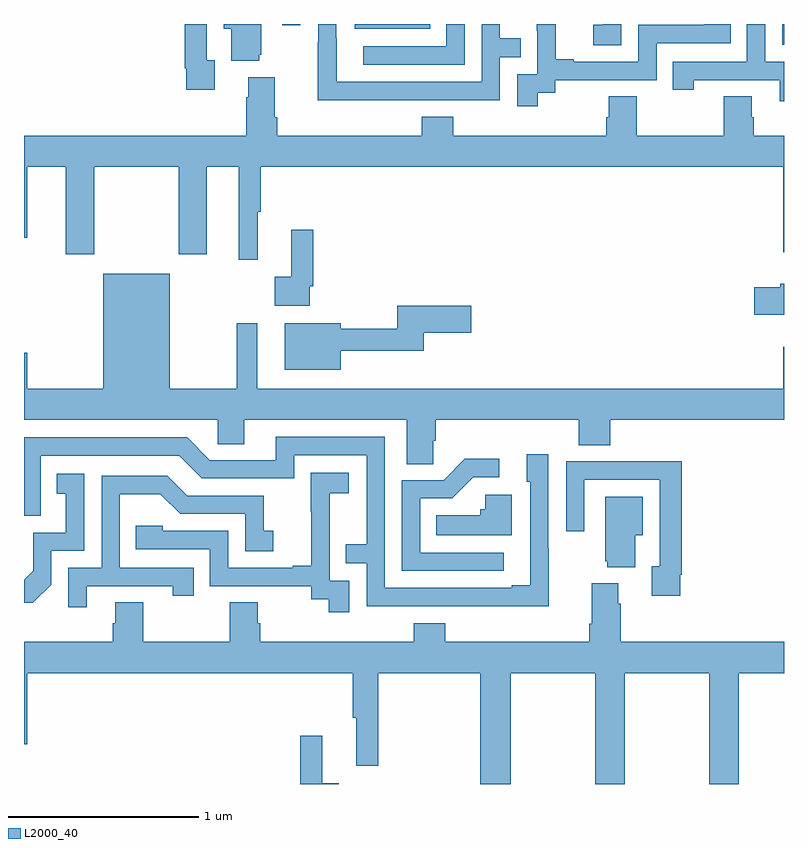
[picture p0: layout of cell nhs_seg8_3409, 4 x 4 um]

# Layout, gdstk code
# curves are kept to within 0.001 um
import gdstk
lib = gdstk.Library(unit=1e-6, precision=1e-09)
def R(c, l, rs):  # rectangles x0, y0, x1, y1
    for r in rs: c.add(gdstk.rectangle(r[:2], r[2:], *l))
def P(c, l, *ps):  # polygons
    for p in ps: c.add(gdstk.Polygon(p, *l))
L2000_40 = (2000, 40)

nhs_seg8_3409 = lib.new_cell('nhs_seg8_3409')
R(nhs_seg8_3409, L2000_40, [(324.99,1135.791,325,1135.9), (322.742,1135.874,323.138,1135.9), (322.359,1135.893,322.455,1135.9)])
P(nhs_seg8_3409, L2000_40, [(323.009,1135.5),(323.505,1135.5),(323.505,1135.725),(323.615,1135.725),(323.615,1135.826),(323.505,1135.826),(323.505,1135.9),(323.409,1135.9),(323.409,1135.596),(322.645,1135.596),(322.645,1135.826),(322.644,1135.826),(322.644,1135.9),(322.548,1135.9),(322.548,1135.805),(322.546,1135.805),(322.546,1135.499),(323.009,1135.499)],
  [(323.704,1135.537),(323.796,1135.537),(323.796,1135.605),(324.33,1135.605),(324.33,1135.8),(324.719,1135.8),(324.719,1135.9),(324.579,1135.9),(324.579,1135.896),(324.234,1135.896),(324.234,1135.701),(323.893,1135.701),(323.893,1135.714),(323.798,1135.714),(323.798,1135.9),(323.699,1135.9),(323.699,1135.865),(323.7,1135.865),(323.7,1135.635),(323.595,1135.635),(323.595,1135.467),(323.704,1135.467)],
  [(322.003,1135.71),(321.963,1135.71),(321.963,1135.9),(321.847,1135.9),(321.847,1135.666),(321.855,1135.666),(321.855,1135.554),(322.003,1135.554)],
  [(323.319,1135.9),(323.223,1135.9),(323.223,1135.782),(322.785,1135.782),(322.785,1135.686),(323.319,1135.686)],
  [(322.238,1135.737),(322.249,1135.737),(322.249,1135.9),(322.052,1135.9),(322.052,1135.874),(322.091,1135.874),(322.091,1135.706),(322.238,1135.706)],
  [(325,1135.701),(324.9,1135.701),(324.9,1135.9),(324.804,1135.9),(324.804,1135.701),(324.415,1135.701),(324.415,1135.554),(324.526,1135.554),(324.526,1135.605),(324.977,1135.605),(324.977,1135.494),(325,1135.494)],
  [(324.144,1135.9),(324.046,1135.9),(324.046,1135.897),(323.997,1135.897),(323.997,1135.788),(324.144,1135.788)],
  [(322.229,1134.912),(322.247,1134.912),(322.247,1135.148),(324.996,1135.148),(324.996,1134.699),(325,1134.699),(325,1135.312),(324.842,1135.312),(324.842,1135.41),(324.829,1135.41),(324.829,1135.52),(324.682,1135.52),(324.682,1135.312),(324.225,1135.312),(324.225,1135.52),(324.077,1135.52),(324.077,1135.41),(324.065,1135.41),(324.065,1135.312),(323.258,1135.312),(323.258,1135.411),(323.093,1135.411),(323.093,1135.312),(322.334,1135.312),(322.334,1135.408),(322.321,1135.408),(322.321,1135.621),(322.181,1135.621),(322.181,1135.514),(322.169,1135.514),(322.169,1135.312),(321,1135.312),(321,1134.774),(321.016,1134.774),(321.016,1135.148),(321.221,1135.148),(321.221,1134.687),(321.369,1134.687),(321.369,1135.148),(321.814,1135.148),(321.814,1134.687),(321.961,1134.687),(321.961,1135.148),(322.13,1135.148),(322.13,1134.66),(322.229,1134.66)],
  [(322.503,1134.52),(322.523,1134.52),(322.523,1134.817),(322.406,1134.817),(322.406,1134.569),(322.32,1134.569),(322.32,1134.416),(322.503,1134.416)],
  [(323.154,1133.707),(323.168,1133.707),(323.168,1133.816),(323.921,1133.816),(323.921,1133.683),(324.086,1133.683),(324.086,1133.816),(325,1133.816),(325,1134.202),(324.996,1134.202),(324.996,1133.98),(322.228,1133.98),(322.228,1134.325),(322.119,1134.325),(322.119,1133.98),(321.766,1133.98),(321.766,1134.586),(321.416,1134.586),(321.416,1133.98),(321.016,1133.98),(321.016,1134.169),(321,1134.169),(321,1133.816),(322.02,1133.816),(322.02,1133.689),(322.159,1133.689),(322.159,1133.816),(323.015,1133.816),(323.015,1133.584),(323.154,1133.584)],
  [(325,1134.532),(324.98,1134.532),(324.98,1134.515),(324.843,1134.515),(324.843,1134.371),(325,1134.371)],
  [(322.666,1134.179),(323.105,1134.179),(323.105,1134.274),(323.353,1134.274),(323.353,1134.416),(322.964,1134.416),(322.964,1134.296),(322.666,1134.296),(322.666,1134.325),(322.373,1134.325),(322.373,1134.08),(322.666,1134.08)],
  [(323.763,1133.141),(323.76,1133.141),(323.76,1133.635),(323.645,1133.635),(323.645,1133.49),(323.664,1133.49),(323.664,1132.945),(323.567,1132.945),(323.567,1132.932),(322.899,1132.932),(322.899,1133.727),(322.325,1133.727),(322.325,1133.604),(321.978,1133.604),(321.858,1133.724),(321,1133.724),(321,1133.313),(321.087,1133.313),(321.087,1133.628),(321.816,1133.628),(321.936,1133.508),(322.422,1133.508),(322.422,1133.631),(322.803,1133.631),(322.803,1133.162),(322.693,1133.162),(322.693,1133.061),(322.803,1133.061),(322.803,1132.836),(323.763,1132.835)],
  [(323.524,1133.118),(323.085,1133.118),(323.085,1133.403),(323.254,1133.403),(323.365,1133.514),(323.5,1133.514),(323.5,1133.612),(323.321,1133.612),(323.208,1133.499),(322.989,1133.499),(322.989,1133.022),(323.524,1133.022)],
  [(324.454,1133.002),(324.461,1133.002),(324.461,1133.6),(324.169,1133.6),(324.169,1133.598),(323.853,1133.598),(323.853,1133.229),(323.949,1133.229),(323.949,1133.502),(324.345,1133.502),(324.345,1133.046),(324.305,1133.046),(324.305,1132.89),(324.454,1132.89)],
  [(322.713,1132.971),(322.608,1132.971),(322.608,1133.201),(322.61,1133.201),(322.61,1133.429),(322.708,1133.429),(322.708,1133.539),(322.51,1133.539),(322.51,1133.333),(322.511,1133.333),(322.511,1133.05),(322.415,1133.05),(322.415,1133.037),(322.074,1133.037),(322.074,1133.232),(321.729,1133.232),(321.729,1133.259),(321.589,1133.259),(321.589,1133.136),(321.978,1133.136),(321.978,1132.941),(322.512,1132.941),(322.512,1132.873),(322.605,1132.873),(322.605,1132.803),(322.713,1132.803)],
  [(321.144,1132.95),(321.144,1133.127),(321.318,1133.127),(321.318,1133.533),(321.172,1133.533),(321.172,1133.427),(321.221,1133.427),(321.221,1133.223),(321.048,1133.223),(321.048,1133.022),(321,1132.974),(321,1132.853),(321.046,1132.853)],
  [(321.331,1132.941),(321.782,1132.941),(321.782,1132.89),(321.893,1132.89),(321.893,1133.037),(321.504,1133.037),(321.504,1133.426),(321.718,1133.426),(321.822,1133.322),(322.164,1133.322),(322.164,1133.124),(322.312,1133.124),(322.312,1133.233),(322.263,1133.233),(322.263,1133.418),(321.859,1133.418),(321.754,1133.523),(321.408,1133.523),(321.408,1133.037),(321.234,1133.037),(321.234,1132.83),(321.331,1132.83)],
  [(323.566,1133.422),(323.427,1133.422),(323.427,1133.346),(323.401,1133.346),(323.401,1133.314),(323.17,1133.314),(323.17,1133.21),(323.566,1133.21)],
  [(324.217,1133.21),(324.256,1133.21),(324.256,1133.413),(324.059,1133.413),(324.059,1133.073),(324.071,1133.073),(324.071,1133.042),(324.217,1133.042)],
  [(323.562,1132.484),(324.007,1132.484),(324.007,1131.9),(324.162,1131.9),(324.162,1132.484),(324.607,1132.484),(324.607,1131.9),(324.762,1131.9),(324.762,1132.484),(325,1132.484),(325,1132.648),(324.14,1132.648),(324.14,1132.85),(324.127,1132.85),(324.127,1132.957),(323.987,1132.957),(323.987,1132.744),(323.975,1132.744),(323.975,1132.648),(323.216,1132.648),(323.216,1132.747),(323.051,1132.747),(323.051,1132.648),(322.244,1132.648),(322.244,1132.746),(322.231,1132.746),(322.231,1132.856),(322.084,1132.856),(322.084,1132.648),(321.627,1132.648),(321.627,1132.856),(321.479,1132.856),(321.479,1132.746),(321.467,1132.746),(321.467,1132.648),(321,1132.648),(321,1132.11),(321.016,1132.11),(321.016,1132.484),(322.729,1132.484),(322.729,1132.248),(322.748,1132.248),(322.748,1131.996),(322.865,1131.996),(322.865,1132.484),(323.402,1132.484),(323.402,1131.9),(323.562,1131.9)],
  [(322.657,1131.905),(322.571,1131.905),(322.571,1132.153),(322.453,1132.153),(322.453,1131.9),(322.657,1131.9)])

lib.write_gds('nhs_seg8_3409.gds')
